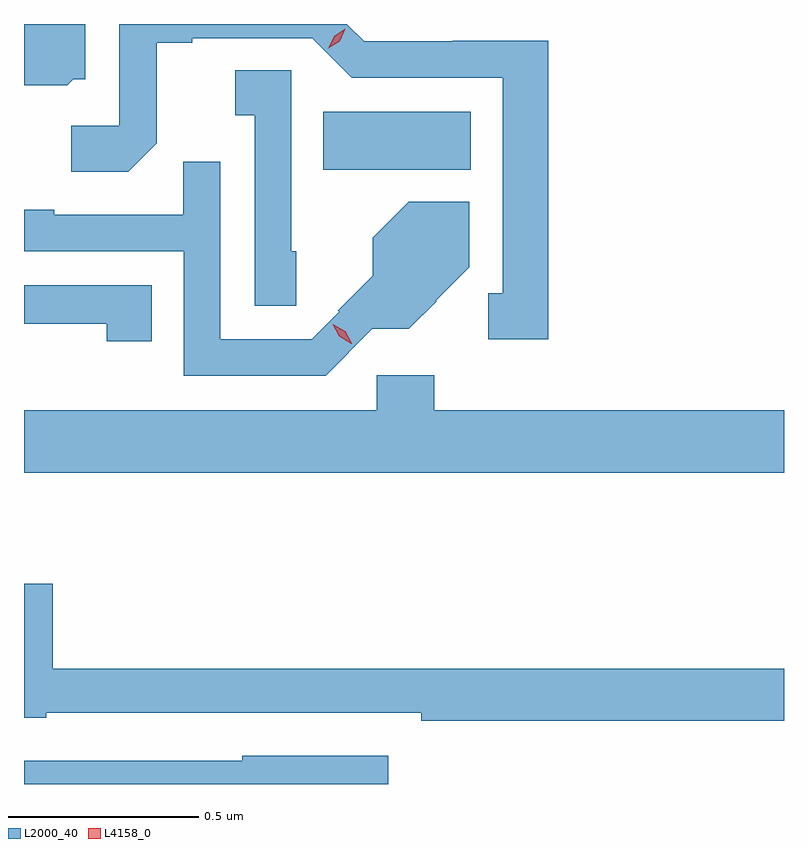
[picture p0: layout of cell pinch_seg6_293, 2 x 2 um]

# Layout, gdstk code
import gdstk
lib = gdstk.Library(unit=1e-6, precision=1e-09)
def R(c, l, rs):  # rectangles x0, y0, x1, y1
    for r in rs: c.add(gdstk.rectangle(r[:2], r[2:], *l))
def P(c, l, *ps):  # polygons
    for p in ps: c.add(gdstk.Polygon(p, *l))
L2000_40 = (2000, 40)
L4158_0 = (4158, 0)

pinch_seg6_293 = lib.new_cell('pinch_seg6_293')
R(pinch_seg6_293, L2000_40, [(798.706,994.754,799.093,994.906)])
P(pinch_seg6_293, L2000_40, [(799.297,995.093),(799.046,995.093),(799.046,995.091),(798.813,995.091),(798.767,995.137),(798.168,995.137),(798.168,994.869),(798.042,994.869),(798.042,994.748),(798.192,994.748),(798.267,994.823),(798.267,995.088),(798.361,995.088),(798.361,995.1),(798.676,995.1),(798.781,994.995),(799.178,994.995),(799.178,994.428),(799.14,994.428),(799.14,994.308),(799.297,994.308)],
  [(798.048,994.992),(798.079,994.992),(798.079,995.137),(797.918,995.137),(797.918,994.976),(798.032,994.976)],
  [(798.635,994.539),(798.621,994.539),(798.621,995.015),(798.474,995.015),(798.474,994.897),(798.525,994.897),(798.525,994.395),(798.635,994.395)],
  [(798.835,994.335),(798.931,994.335),(799.004,994.408),(799.002,994.409),(799.09,994.497),(799.09,994.669),(798.931,994.669),(798.836,994.574),(798.836,994.475),(798.744,994.383),(798.747,994.38),(798.675,994.308),(798.435,994.308),(798.435,994.774),(798.337,994.774),(798.337,994.635),(797.998,994.635),(797.998,994.648),(797.918,994.648),(797.918,994.539),(798.339,994.539),(798.339,994.212),(798.712,994.212)],
  [(798.254,994.449),(797.918,994.449),(797.918,994.348),(798.136,994.348),(798.136,994.302),(798.254,994.302)],
  [(799.918,994.12),(798.998,994.12),(798.998,994.213),(798.846,994.213),(798.846,994.12),(797.918,994.12),(797.918,993.956),(799.918,993.956)],
  [(799.918,993.44),(797.993,993.44),(797.993,993.664),(797.918,993.664),(797.918,993.311),(797.976,993.311),(797.976,993.324),(798.964,993.324),(798.964,993.304),(799.918,993.304)],
  [(798.877,993.211),(798.492,993.211),(798.492,993.198),(797.918,993.198),(797.918,993.137),(798.877,993.137)])
P(pinch_seg6_293, L4158_0, [(798.779,994.296),(798.748,994.315),(798.731,994.347),(798.731,994.347),(798.731,994.347),(798.763,994.329),(798.78,994.297),(798.78,994.296)],
  [(798.718,995.073),(798.718,995.073),(798.734,995.105),(798.763,995.125),(798.764,995.125),(798.764,995.125),(798.749,995.092),(798.719,995.073)])

lib.write_gds('pinch_seg6_293.gds')
